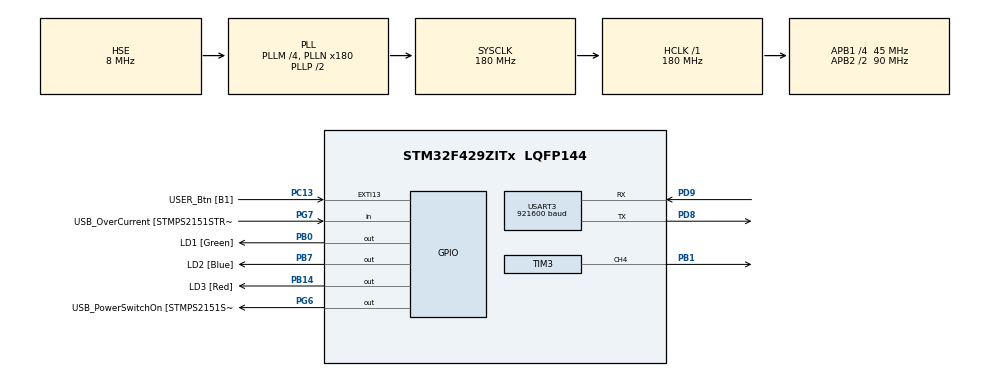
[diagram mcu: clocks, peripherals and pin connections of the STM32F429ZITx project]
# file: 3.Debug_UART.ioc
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Mcu.Family=STM32F4
Mcu.Name=STM32F429ZITx
Mcu.Package=LQFP144
NVIC.PriorityGroup=NVIC_PRIORITYGROUP_4
NVIC.TIM3_IRQn=true\:0\:0\:false\:false\:true\:true\:true\:true
NVIC.USART3_IRQn=true\:0\:0\:false\:false\:true\:true\:true\:true
PA1.GPIO_Label=RMII_REF_CLK [LAN8742A-CZ-TR_REFCLK0]
PA1.Signal=ETH_REF_CLK
PA10.GPIO_Label=USB_ID
PA10.Signal=USB_OTG_FS_ID
PA11.GPIO_Label=USB_DM
PA11.Signal=USB_OTG_FS_DM
PA12.GPIO_Label=USB_DP
PA12.Signal=USB_OTG_FS_DP
PA13.GPIO_Label=TMS
PA13.Mode=Serial_Wire
PA13.Signal=SYS_JTMS-SWDIO
PA14.GPIO_Label=TCK
PA14.Mode=Serial_Wire
PA14.Signal=SYS_JTCK-SWCLK
PA2.GPIO_Label=RMII_MDIO [LAN8742A-CZ-TR_MDIO]
PA2.Signal=ETH_MDIO
PA7.GPIO_Label=RMII_CRS_DV [LAN8742A-CZ-TR_CRS_DV]
PA7.Signal=ETH_CRS_DV
PA8.GPIO_Label=USB_SOF [TP1]
PA8.Signal=USB_OTG_FS_SOF
PA9.GPIO_Label=USB_VBUS
PA9.Signal=USB_OTG_FS_VBUS
PB0.GPIO_Label=LD1 [Green]
PB0.Signal=GPIO_Output
PB1.Signal=S_TIM3_CH4
PB13.GPIO_Label=RMII_TXD1 [LAN8742A-CZ-TR_TXD1]
PB13.Signal=ETH_TXD1
PB14.GPIO_Label=LD3 [Red]
PB14.Signal=GPIO_Output
PB7.GPIO_Label=LD2 [Blue]
PB7.Signal=GPIO_Output
PC1.GPIO_Label=RMII_MDC [LAN8742A-CZ-TR_MDC]
PC1.Signal=ETH_MDC
PC13.GPIO_Label=USER_Btn [B1]
PC13.Signal=GPXTI13
PC14/OSC32_IN.Mode=LSE-External-Clock-Source
PC14/OSC32_IN.Signal=RCC_OSC32_IN
PC15/OSC32_OUT.Mode=LSE-External-Clock-Source
PC15/OSC32_OUT.Signal=RCC_OSC32_OUT
PC4.GPIO_Label=RMII_RXD0 [LAN8742A-CZ-TR_RXD0]
PC4.Signal=ETH_RXD0
PC5.GPIO_Label=RMII_RXD1 [LAN8742A-CZ-TR_RXD1]
PC5.Signal=ETH_RXD1
PD8.Mode=Asynchronous
PD8.Signal=USART3_TX
PD9.Mode=Asynchronous
PD9.Signal=USART3_RX
PG11.GPIO_Label=RMII_TX_EN [LAN8742A-CZ-TR_TXEN]
PG11.Signal=ETH_TX_EN
PG13.GPIO_Label=RMII_TXD0 [LAN8742A-CZ-TR_TXD0]
PG13.Signal=ETH_TXD0
PG6.GPIO_Label=USB_PowerSwitchOn [STMPS2151STR_EN]
PG6.Signal=GPIO_Output
PG7.GPIO_Label=USB_OverCurrent [STMPS2151STR_FAULT]
PG7.Signal=GPIO_Input
PH0/OSC_IN.GPIO_Label=MCO [STM32F103CBT6_PA8]
PH0/OSC_IN.Mode=HSE-External-Oscillator
PH0/OSC_IN.Signal=RCC_OSC_IN
PH1/OSC_OUT.Mode=HSE-External-Oscillator
PH1/OSC_OUT.Signal=RCC_OSC_OUT
ProjectManager.HeapSize=0x200
ProjectManager.StackSize=0x400
ProjectManager.TargetToolchain=STM32CubeIDE
RCC.48MHZClocksFreq_Value=90000000
RCC.AHBFreq_Value=180000000
RCC.APB1CLKDivider=RCC_HCLK_DIV4
RCC.APB1Freq_Value=45000000
RCC.APB1TimFreq_Value=90000000
RCC.APB2CLKDivider=RCC_HCLK_DIV2
RCC.APB2Freq_Value=90000000
RCC.APB2TimFreq_Value=180000000
RCC.CortexFreq_Value=180000000
RCC.HCLKFreq_Value=180000000
RCC.HSE_VALUE=8000000
RCC.HSI_VALUE=16000000
RCC.LSE_VALUE=32768
RCC.PLLM=4
RCC.PLLMUL=RCC_PLL_MUL9
RCC.PLLN=180
RCC.PLLSourceVirtual=RCC_PLLSOURCE_HSE
RCC.PRESCALERUSB=RCC_USBCLKSOURCE_PLL_DIV1_5
RCC.SYSCLKFreq_VALUE=180000000
RCC.SYSCLKSource=RCC_SYSCLKSOURCE_PLLCLK
RCC.SYSCLKSourceVirtual=RCC_SYSCLKSOURCE_PLLCLK
RCC.USBFreq_Value=48000000
RCC.VCOOutputFreq_Value=360000000
SH.S_TIM3_CH4.0=TIM3_CH4,PWM Generation4 CH4
TIM3.AutoReloadPreload=TIM_AUTORELOAD_PRELOAD_ENABLE
TIM3.Channel-PWM\ Generation4\ CH4=TIM_CHANNEL_4
TIM3.Period=30-1
TIM3.Prescaler=999
TIM3.Pulse-PWM\ Generation4\ CH4=14
USART3.BaudRate=921600
USART3.VirtualMode=VM_ASYNC
VP_TIM3_VS_ClockSourceINT.Mode=Internal
board=NUCLEO-F429ZI

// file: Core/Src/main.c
/* USER CODE BEGIN Header */
/**
  ******************************************************************************
  * @file           : main.c
  * @brief          : Main program body
  ******************************************************************************
  * @attention
  *
  * Copyright (c) 2022 STMicroelectronics.
  * All rights reserved.
  *
  * This software is licensed under terms that can be found in the LICENSE file
  * in the root directory of this software component.
  * If no LICENSE file comes with this software, it is provided AS-IS.
  *
  ******************************************************************************
  */
/* USER CODE END Header */
#include "main.h"
#include "tim.h"
#include "usart.h"
#include "gpio.h"

/* USER CODE BEGIN Includes */
#include "stdio.h"
/* USER CODE END Includes */

/* USER CODE BEGIN PV */
extern uint8_t uart3_rx_flag;
extern uint8_t uart3_rx_data;
/* USER CODE END PV */

void SystemClock_Config(void);
/* USER CODE BEGIN PFP */
int _write(uint32_t file, uint8_t* ptr, uint32_t len )
{

	for(int i = 0; i < len; i++)
	{
		LL_USART_TransmitData8(USART3, *(ptr+i));
		HAL_Delay(1);
	}

	return len;

	//if(HAL_UART_Transmit(&huart3, ptr, len, len) == HAL_OK) return len;
	//else return 0;
}
/* USER CODE END PFP */

int main(void)
{

  /* MCU Configuration--------------------------------------------------------*/

  /* Reset of all peripherals, Initializes the Flash interface and the Systick. */
  HAL_Init();

  /* Configure the system clock */
  SystemClock_Config();

  /* Initialize all configured peripherals */
  MX_GPIO_Init();
  MX_USART3_UART_Init();
  MX_TIM3_Init();
  /* USER CODE BEGIN 2 */
  LL_TIM_EnableCounter(TIM3);
  LL_USART_EnableIT_RXNE(USART3);	// Receive Complete Interrupt -> IRQ Handler

  /* USER CODE END 2 */

  /* Infinite loop */
  /* USER CODE BEGIN WHILE */
  LL_TIM_CC_EnableChannel(TIM3, LL_TIM_CHANNEL_CH4);
  for(int i=0; i< 4; i++)
   	  {
   		  TIM3->PSC = 500*(i + 1);
   		  printf("TIM3->PSC : %ld\r\n", TIM3->PSC);
   		  HAL_Delay(100);

   	  }
   LL_TIM_CC_DisableChannel(TIM3, LL_TIM_CHANNEL_CH4);
  float f = 1.234;
  int32_t fToInt = (int32_t)(f * 1000);
  printf("%f %ld\r\n", f, fToInt);
  while (1)
  {
    /* USER CODE END WHILE */

    /* USER CODE BEGIN 3 */

	  printf("%lf\r\n", (double)fToInt/1000);
	  fToInt += 1;
	  HAL_Delay(500);

	  if(uart3_rx_flag == 1)
	  {
		  uart3_rx_flag = 0;
		  LL_USART_TransmitData8(USART3, uart3_rx_data);	// Transmit received data
		  switch(uart3_rx_data)
		  {
		  	  case '0':
		  		  LL_GPIO_TogglePin(GPIOB, LL_GPIO_PIN_0| LL_GPIO_PIN_7|LL_GPIO_PIN_14);
		  		  HAL_Delay(500);
		  		  break;

		  	  case '1': LL_TIM_CC_EnableChannel(TIM3, LL_TIM_CHANNEL_CH4); break;
		  	  case '2': LL_TIM_CC_DisableChannel(TIM3, LL_TIM_CHANNEL_CH4); break;
		  }
	  }

  }
  /* USER CODE END 3 */
}

void SystemClock_Config(void)
{
  RCC_OscInitTypeDef RCC_OscInitStruct = {0};
  RCC_ClkInitTypeDef RCC_ClkInitStruct = {0};

  /** Configure the main internal regulator output voltage
  */
  __HAL_RCC_PWR_CLK_ENABLE();
  __HAL_PWR_VOLTAGESCALING_CONFIG(PWR_REGULATOR_VOLTAGE_SCALE1);

  /** Initializes the RCC Oscillators according to the specified parameters
  * in the RCC_OscInitTypeDef structure.
  */
  RCC_OscInitStruct.OscillatorType = RCC_OSCILLATORTYPE_HSE;
  RCC_OscInitStruct.HSEState = RCC_HSE_ON;
  RCC_OscInitStruct.PLL.PLLState = RCC_PLL_ON;
  RCC_OscInitStruct.PLL.PLLSource = RCC_PLLSOURCE_HSE;
  RCC_OscInitStruct.PLL.PLLM = 4;
  RCC_OscInitStruct.PLL.PLLN = 180;
  RCC_OscInitStruct.PLL.PLLP = RCC_PLLP_DIV2;
  RCC_OscInitStruct.PLL.PLLQ = 4;
  if (HAL_RCC_OscConfig(&RCC_OscInitStruct) != HAL_OK)
  {
    Error_Handler();
  }

  /** Activate the Over-Drive mode
  */
  if (HAL_PWREx_EnableOverDrive() != HAL_OK)
  {
    Error_Handler();
  }

  /** Initializes the CPU, AHB and APB buses clocks
  */
  RCC_ClkInitStruct.ClockType = RCC_CLOCKTYPE_HCLK|RCC_CLOCKTYPE_SYSCLK
                              |RCC_CLOCKTYPE_PCLK1|RCC_CLOCKTYPE_PCLK2;
  RCC_ClkInitStruct.SYSCLKSource = RCC_SYSCLKSOURCE_PLLCLK;
  RCC_ClkInitStruct.AHBCLKDivider = RCC_SYSCLK_DIV1;
  RCC_ClkInitStruct.APB1CLKDivider = RCC_HCLK_DIV4;
  RCC_ClkInitStruct.APB2CLKDivider = RCC_HCLK_DIV2;

  if (HAL_RCC_ClockConfig(&RCC_ClkInitStruct, FLASH_LATENCY_5) != HAL_OK)
  {
    Error_Handler();
  }
}

void Error_Handler(void)
{
  __disable_irq();
  while (1)
  {
  }
}
